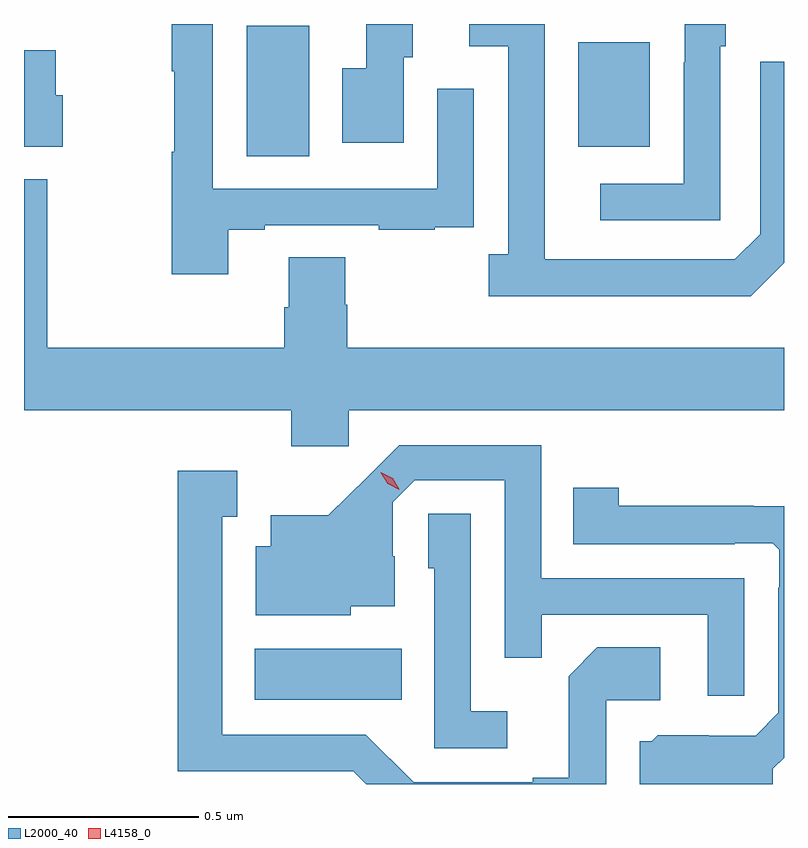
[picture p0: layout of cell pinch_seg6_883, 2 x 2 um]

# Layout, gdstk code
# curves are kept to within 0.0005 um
import gdstk
lib = gdstk.Library(unit=1e-6, precision=1e-09)
def R(c, l, rs):  # rectangles x0, y0, x1, y1
    for r in rs: c.add(gdstk.rectangle(r[:2], r[2:], *l))
def P(c, l, *ps):  # polygons
    for p in ps: c.add(gdstk.Polygon(p, *l))
L2000_40 = (2000, 40)
L4158_0 = (4158, 0)

pinch_seg6_883 = lib.new_cell('pinch_seg6_883')
R(pinch_seg6_883, L2000_40, [(135.371,977.21,135.758,977.344), (135.35,978.64,135.514,978.984), (136.223,978.665,136.411,978.94)])
P(pinch_seg6_883, L2000_40, [(136.596,978.929),(136.611,978.929),(136.611,978.988),(136.502,978.988),(136.503,978.987),(136.503,978.887),(136.5,978.887),(136.5,978.567),(136.281,978.567),(136.281,978.471),(136.596,978.471)],
  [(136.764,978.36),(136.764,978.889),(136.701,978.889),(136.701,978.435),(136.635,978.369),(136.135,978.369),(136.135,978.569),(136.134,978.569),(136.134,978.988),(135.936,978.988),(135.936,978.93),(136.038,978.93),(136.038,978.382),(135.987,978.382),(135.987,978.272),(136.676,978.272)],
  [(135.301,978.447),(135.397,978.447),(135.397,978.459),(135.697,978.459),(135.697,978.447),(135.845,978.447),(135.845,978.453),(135.947,978.453),(135.947,978.562),(135.948,978.562),(135.948,978.817),(135.852,978.817),(135.852,978.555),(135.261,978.555),(135.261,978.988),(135.153,978.988),(135.153,978.864),(135.16,978.864),(135.16,978.652),(135.153,978.652),(135.153,978.33),(135.301,978.33)],
  [(135.763,978.9),(135.787,978.9),(135.787,978.988),(135.665,978.988),(135.665,978.871),(135.602,978.871),(135.602,978.675),(135.763,978.675)],
  [(134.866,978.801),(134.848,978.801),(134.848,978.919),(134.764,978.919),(134.764,978.665),(134.866,978.665)],
  [(135.467,977.877),(135.618,977.877),(135.618,977.972),(136.764,977.972),(136.764,978.136),(135.614,978.136),(135.614,978.249),(135.609,978.249),(135.609,978.374),(135.461,978.374),(135.461,978.242),(135.449,978.242),(135.449,978.136),(134.825,978.136),(134.825,978.58),(134.764,978.58),(134.764,977.972),(135.467,977.972)],
  [(136.659,977.529),(136.125,977.529),(136.125,977.88),(135.752,977.88),(135.565,977.695),(135.413,977.695),(135.413,977.614),(135.374,977.614),(135.374,977.432),(135.624,977.432),(135.624,977.456),(135.739,977.456),(135.739,977.588),(135.735,977.588),(135.735,977.73),(135.792,977.787),(136.029,977.787),(136.029,977.32),(136.127,977.32),(136.127,977.433),(136.563,977.433),(136.563,977.22),(136.659,977.22)],
  [(136.296,977.208),(136.438,977.208),(136.438,977.348),(136.273,977.348),(136.197,977.272),(136.197,977.005),(136.103,977.005),(136.103,976.992),(135.789,976.992),(135.663,977.118),(135.286,977.118),(135.286,977.691),(135.325,977.691),(135.325,977.812),(135.168,977.812),(135.168,977.021),(135.408,977.021),(135.408,977.022),(135.63,977.022),(135.664,976.988),(136.296,976.988)],
  [(136.735,977.028),(136.764,977.057),(136.764,977.719),(136.685,977.719),(136.685,977.72),(136.329,977.72),(136.329,977.767),(136.21,977.767),(136.21,977.619),(136.634,977.619),(136.634,977.622),(136.734,977.622),(136.752,977.604),(136.752,977.504),(136.749,977.504),(136.749,977.175),(136.689,977.115),(136.566,977.115),(136.566,977.116),(136.432,977.116),(136.416,977.1),(136.385,977.1),(136.385,976.988),(136.735,976.988)],
  [(136.036,977.179),(135.939,977.179),(135.939,977.699),(135.828,977.699),(135.828,977.556),(135.843,977.556),(135.843,977.082),(136.036,977.082)])
P(pinch_seg6_883, L4158_0, [(135.751,977.763),(135.721,977.778),(135.703,977.807),(135.703,977.808),(135.703,977.808),(135.734,977.793),(135.752,977.764),(135.752,977.763)])

lib.write_gds('pinch_seg6_883.gds')
